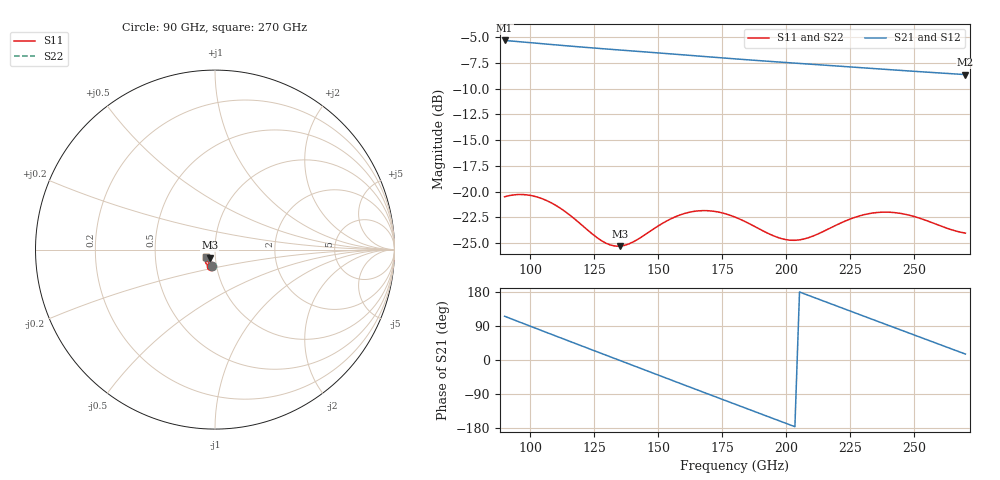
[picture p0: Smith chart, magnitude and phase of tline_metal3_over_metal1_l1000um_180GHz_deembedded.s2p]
! Created with skrf 2.2.0 (http://scikit-rf.org).
# GHz S DB R 50.0
! Port[1] = P1
! Port[2] = P2
!freq dBS11 angS11 dBS21 angS21 dBS12 angS12 dBS22 angS22
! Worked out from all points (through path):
!   101 points, 90 GHz to 270 GHz, reference 50 ohm
!   highest |S21| = -5.30 dB at 90 GHz (marker M1); lowest = -8.6 dB at 270 GHz (marker M2)
!   group delay of S21, straight-line fit = 7.09 ps
!   lowest |S11| = -25.3 dB at 135 GHz (marker M3), VSWR 1.11, Z = 47 - j4.31 ohm
!   |S11| at or under -10 dB: start of sweep to end of sweep
!   |S22| runs from -25.3 to -20.2 dB; largest |S21 - S12| = 6.7e-14
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90  -20.51 -102.3  -5.30 115.4  -5.30 115.4  -20.38 -100.9
97.2  -20.29 -112.1  -5.45 96.6  -5.45 96.6  -20.18 -111.0
104.4  -20.67 -121.9  -5.61 77.9  -5.61 77.9  -20.58 -120.9
111.6  -21.60 -129.9  -5.76 59.2  -5.76 59.2  -21.53 -129.0
120.6  -23.36 -134.5  -5.95 35.9  -5.95 35.9  -23.33 -133.7
127.8  -24.78 -131.2  -6.09 17.4  -6.09 17.4  -24.78 -130.3
135  -25.32 -122.5  -6.23 -1.2  -6.23 -1.2  -25.31 -121.3
142.2  -24.63 -115.2  -6.36 -19.7  -6.36 -19.7  -24.59 -113.9
151.2  -23.17 -114.4  -6.53 -42.8  -6.53 -42.8  -23.11 -113.3
158.4  -22.29 -118.9  -6.67 -61.3  -6.67 -61.3  -22.22 -117.9
165.6  -21.88 -125.3  -6.81 -79.8  -6.81 -79.8  -21.82 -124.5
172.8  -21.96 -132.0  -6.95 -98.2  -6.95 -98.2  -21.90 -131.3
180  -22.49 -137.4  -7.09 -116.5  -7.09 -116.5  -22.44 -136.9
189  -23.57 -140.3  -7.25 -139.4  -7.25 -139.4  -23.54 -139.8
196.2  -24.43 -138.0  -7.38 -157.7  -7.38 -157.7  -24.40 -137.6
203.4  -24.75 -132.4  -7.50 -176.0  -7.50 -176.0  -24.74 -132.0
210.6  -24.32 -127.2  -7.63 165.7  -7.63 165.7  -24.32 -126.8
226.8  -22.52 -128.1  -7.90 124.6  -7.90 124.6  -22.54 -127.9
241.2  -22.03 -137.7  -8.15 88.2  -8.15 88.2  -22.09 -137.6
253.8  -22.74 -144.3  -8.36 56.4  -8.36 56.4  -22.85 -144.2
262.8  -23.57 -144.6  -8.51 33.8  -8.51 33.8  -23.73 -144.3
270  -24.05 -141.6  -8.62 15.7  -8.62 15.7  -24.22 -141.1
